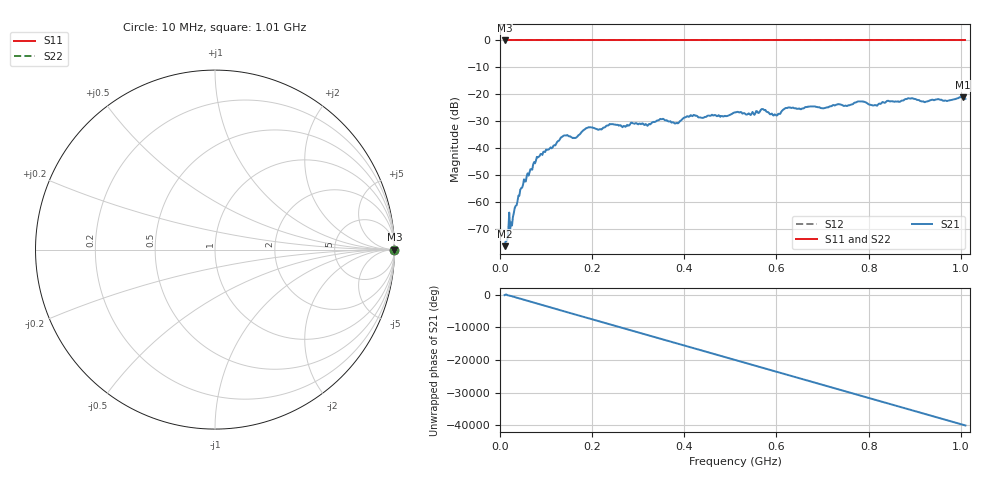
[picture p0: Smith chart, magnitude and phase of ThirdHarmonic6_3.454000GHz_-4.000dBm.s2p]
! 8/17/2025 11:09:53 AM
! C:\ANRITSUVNA\TEMP\TEMP.S2P
! CHANNEL.1
! TR.MEASUREMENT
! RAW.DATA
! RF.CORRECTION.OFF
! AVERAGING.OFF
! IF.BANDWIDTH: 5KHZ
! SWEEPTYPE:  FREQ.SWEEP(Linear)
! Reference Plane Port Info
! PORT:  PORT1  PORT2
! DISTANCE:  0  m  0  m
! TIME:  0  s  0  s
! PHASE.OFFSET:  0  deg.  0  deg.
! LOSS:  0  dB  0  dB
! REF.LOSS:  0  dB  0  dB
! REF.FREQ:  0  Hz  0  Hz
! Power Info
! POWER:  -20  dBm  -20  dBm
! EFF.POWER:  -20  dBm  -20  dBm
! SOURCE.ATTEN:  0  dB  0  dB
! TEST.ATTEN:  0  dB  0  dB
# GHZ S RI R 50.0
! FREQ.GHZ  S11RE  S11IM  S21RE  S21IM  S12RE  S12IM  S22RE  S22IM
!; PortSelection: Port_12
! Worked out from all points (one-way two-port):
!   501 points, 10 MHz to 1.01 GHz, reference 50 ohm
!   highest |S21| = -21.01 dB at 1.004 GHz (marker M1); lowest = -76.3 dB at 10 MHz (marker M2)
!   lowest |S11| = 0.0 dB at 10 MHz (marker M3)
!   |S11| at or under -10 dB: nowhere
!   |S22| runs from 0.0 to 0.0 dB; largest |S21 - S12| = 1.1
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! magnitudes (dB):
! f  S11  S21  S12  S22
! 10 MHz  0.0  -76.3  0.0  0.0
! 48 MHz  0.0  -54.6  0.0  0.0
! 78 MHz  0.0  -44.5  0.0  0.0
! 136 MHz  0.0  -35.6  0.0  0.0
! 162 MHz  0.0  -36.2  0.0  0.0
! 178 MHz  0.0  -33.8  0.0  0.0
! 192 MHz  0.0  -32.2  0.0  0.0
! 322 MHz  0.0  -31.3  0.0  0.0
! 344 MHz  0.0  -29.6  0.0  0.0
! 384 MHz  0.0  -30.6  0.0  0.0
! 418 MHz  0.0  -28.1  0.0  0.0
! 510 MHz  0.0  -26.7  0.0  0.0
! 540 MHz  0.0  -27.0  0.0  0.0
! 572 MHz  0.0  -25.6  0.0  0.0
! 598 MHz  0.0  -27.6  0.0  0.0
! 622 MHz  0.0  -25.0  0.0  0.0
! 678 MHz  0.0  -24.5  0.0  0.0
! 780 MHz  0.0  -22.6  0.0  0.0
! 814 MHz  0.0  -23.9  0.0  0.0
! 844 MHz  0.0  -22.4  0.0  0.0
! 1.004 GHz  0.0  -21.0  0.0  0.0
! 1.01 GHz  0.0  -21.6  0.0  0.0
